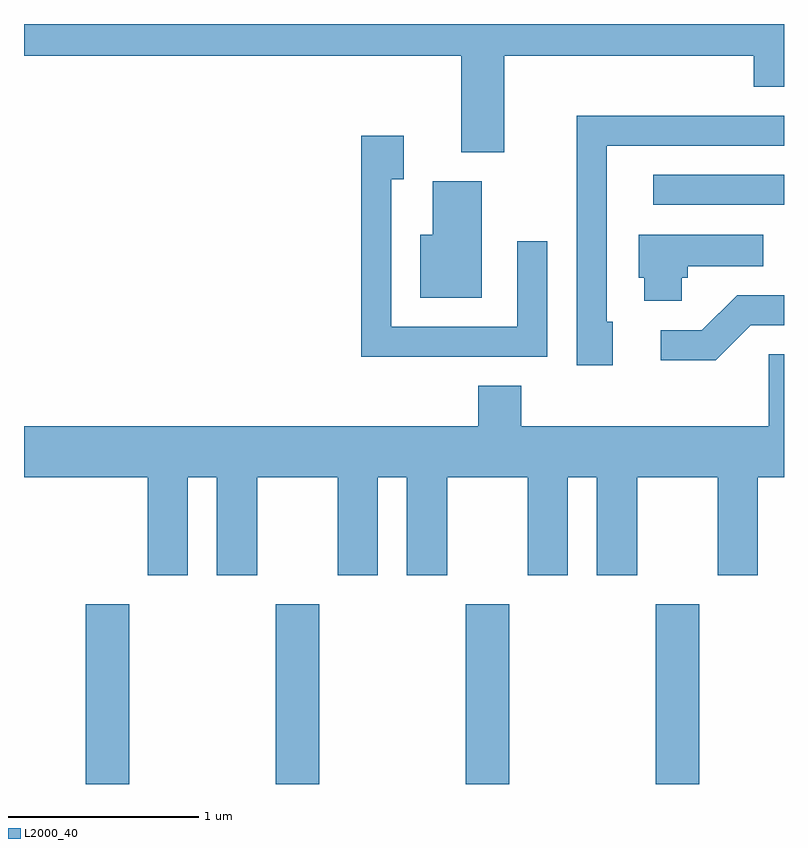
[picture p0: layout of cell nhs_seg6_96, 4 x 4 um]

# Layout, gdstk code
import gdstk
lib = gdstk.Library(unit=1e-6, precision=1e-09)
def R(c, l, rs):  # rectangles x0, y0, x1, y1
    for r in rs: c.add(gdstk.rectangle(r[:2], r[2:], *l))
def A(c, l, x, y, w, h, nx, ny, dx, dy):  # array of equal rectangles
    R(c, l, [(x+i*dx, y+j*dy, x+i*dx+w, y+j*dy+h) for i in range(nx) for j in range(ny)])
def P(c, l, *ps):  # polygons
    for p in ps: c.add(gdstk.Polygon(p, *l))
L2000_40 = (2000, 40)

nhs_seg6_96 = lib.new_cell('nhs_seg6_96')
A(nhs_seg6_96, L2000_40, 187.936, 1586.162, 0.228, 0.947, 4, 1, 1, 0)
R(nhs_seg6_96, L2000_40, [(190.923,1589.211,191.611,1589.369)])
P(nhs_seg6_96, L2000_40, [(190.139,1589.996),(191.451,1589.996),(191.451,1589.831),(191.611,1589.831),(191.611,1590.162),(187.611,1590.162),(187.611,1589.996),(189.911,1589.996),(189.911,1589.486),(190.139,1589.486)],
  [(190.709,1588.594),(190.679,1588.594),(190.679,1589.521),(191.611,1589.521),(191.611,1589.679),(190.521,1589.679),(190.521,1588.366),(190.709,1588.366)],
  [(190.364,1589.018),(190.206,1589.018),(190.206,1588.569),(189.544,1588.569),(189.544,1589.346),(189.609,1589.346),(189.609,1589.574),(189.386,1589.574),(189.386,1588.411),(190.364,1588.411)],
  [(190.019,1589.334),(189.761,1589.334),(189.761,1589.054),(189.696,1589.054),(189.696,1588.721),(190.019,1588.721)],
  [(191.074,1588.826),(191.104,1588.826),(191.104,1588.886),(191.503,1588.886),(191.503,1589.054),(190.846,1589.054),(190.846,1588.826),(190.876,1588.826),(190.876,1588.706),(191.074,1588.706)],
  [(191.437,1588.576),(191.611,1588.576),(191.611,1588.734),(191.364,1588.734),(191.179,1588.549),(190.963,1588.549),(190.963,1588.391),(191.252,1588.391)],
  [(188.474,1587.776),(188.626,1587.776),(188.626,1587.261),(188.839,1587.261),(188.839,1587.776),(189.261,1587.776),(189.261,1587.261),(189.474,1587.261),(189.474,1587.776),(189.626,1587.776),(189.626,1587.261),(189.839,1587.261),(189.839,1587.776),(190.261,1587.776),(190.261,1587.261),(190.474,1587.261),(190.474,1587.776),(190.626,1587.776),(190.626,1587.261),(190.839,1587.261),(190.839,1587.776),(191.261,1587.776),(191.261,1587.261),(191.474,1587.261),(191.474,1587.776),(191.611,1587.776),(191.611,1588.424),(191.531,1588.424),(191.531,1588.044),(190.229,1588.044),(190.229,1588.259),(190.001,1588.259),(190.001,1588.044),(187.611,1588.044),(187.611,1587.776),(188.261,1587.776),(188.261,1587.261),(188.474,1587.261)])

lib.write_gds('nhs_seg6_96.gds')
